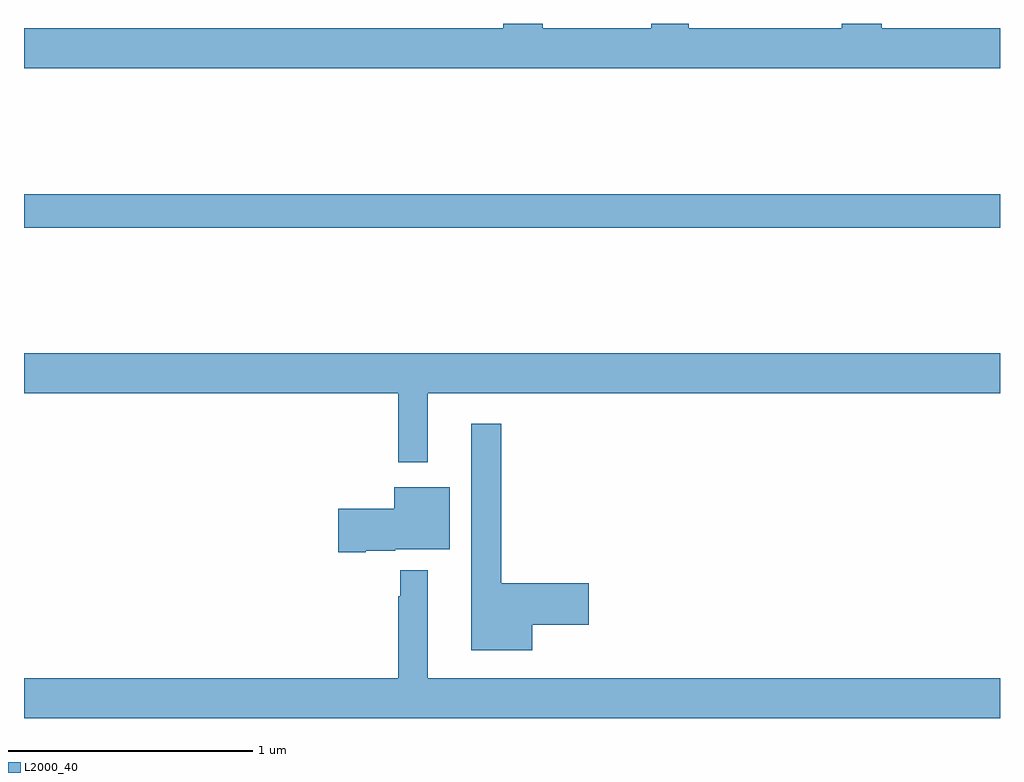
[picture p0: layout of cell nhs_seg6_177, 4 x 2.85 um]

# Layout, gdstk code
import gdstk
lib = gdstk.Library(unit=1e-6, precision=1e-09)
def R(c, l, rs):  # rectangles x0, y0, x1, y1
    for r in rs: c.add(gdstk.rectangle(r[:2], r[2:], *l))
def P(c, l, *ps):  # polygons
    for p in ps: c.add(gdstk.Polygon(p, *l))
L2000_40 = (2000, 40)

nhs_seg6_177 = lib.new_cell('nhs_seg6_177')
R(nhs_seg6_177, L2000_40, [(119,966.664,123,966.8)])
P(nhs_seg6_177, L2000_40, [(123,967.48),(122.516,967.48),(122.516,967.5),(122.351,967.5),(122.351,967.48),(121.725,967.48),(121.725,967.5),(121.57,967.5),(121.57,967.48),(121.125,967.48),(121.125,967.5),(120.965,967.5),(120.965,967.48),(119,967.48),(119,967.316),(123,967.316)],
  [(120.655,965.984),(123,965.984),(123,966.148),(119,966.148),(119,965.984),(120.534,965.984),(120.534,965.703),(120.655,965.703)],
  [(121.084,965.036),(121.315,965.036),(121.315,965.207),(120.955,965.207),(120.955,965.86),(120.833,965.86),(120.833,964.931),(121.084,964.931)],
  [(120.4,965.339),(120.522,965.339),(120.522,965.345),(120.745,965.345),(120.745,965.599),(120.518,965.599),(120.518,965.511),(120.288,965.511),(120.288,965.333),(120.4,965.333)],
  [(123,964.816),(120.655,964.816),(120.655,965.26),(120.541,965.26),(120.541,965.153),(120.534,965.153),(120.534,964.816),(119,964.816),(119,964.652),(123,964.652)])

lib.write_gds('nhs_seg6_177.gds')
